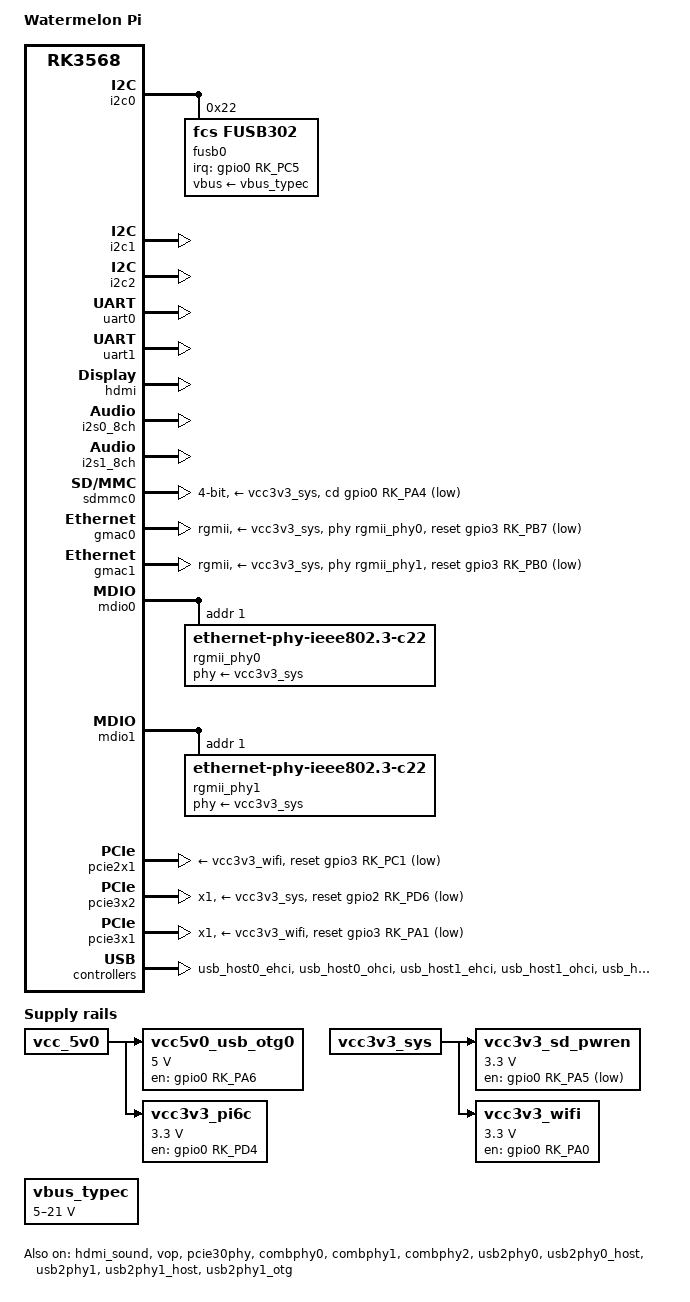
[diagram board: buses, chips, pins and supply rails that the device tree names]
// SPDX-License-Identifier: (GPL-2.0+ OR MIT)
// Copyright (c) 2023 Flippy <flippy@sina.com>

/dts-v1/;

#include "rk3568-watermelon-core.dtsi"

/ {
	model = "Watermelon Pi";
	compatible = "rockchip,watermelon-pi", "rockchip,rk3568";

	aliases {
		ethernet0 = &gmac0;
		ethernet1 = &gmac1;
	};

	vbus_typec: vbus_typec {
		compatible = "regulator-fixed";
		regulator-min-microvolt =  <5000000>;
		regulator-max-microvolt = <21000000>;
		regulator-name = "vbus_typec";
	};

	vcc5v0_usb_otg0: vcc5v0_usb_otg0 {
		compatible = "regulator-fixed";
		regulator-min-microvolt = <5000000>;
		regulator-max-microvolt = <5000000>;
		regulator-name = "vcc5v0_usb_otg0";

		enable-active-high;
		gpio = <&gpio0 RK_PA6 GPIO_ACTIVE_HIGH>;
		pinctrl-names = "default";
		pinctrl-0 = <&vcc5v0_usb_otg0_en>;
		vin-supply = <&vcc_5v0>;
	};

	vcc3v3_sd_pwren: vcc3v3-sd-pwren-regulator {
		compatible = "regulator-fixed";

		regulator-name = "vcc3v3_sd_pwren";
		regulator-min-microvolt = <3300000>;
		regulator-max-microvolt = <3300000>;
		regulator-boot-on;
		regulator-always-on;

		gpio = <&gpio0 RK_PA5 GPIO_ACTIVE_LOW>;
		vin-supply = <&vcc3v3_sys>;

		pinctrl-names = "default";
		pinctrl-0 = <&vcc3v3_sd_en>;
	};

	vcc3v3_pi6c: vcc3v3-pi6c {
		compatible = "regulator-fixed";
		regulator-name = "vcc3v3_pi6c";
		regulator-min-microvolt = <3300000>;
		regulator-max-microvolt = <3300000>;
		regulator-boot-on;
		regulator-always-on;

		enable-active-high;
		gpio = <&gpio0 RK_PD4 GPIO_ACTIVE_HIGH>;
		pinctrl-names = "default";
		pinctrl-0 = <&vcc3v3_pi6c_pwren>;
		vin-supply = <&vcc_5v0>;
	};

	vcc3v3_wifi: vcc3v3-wifi {
		compatible = "regulator-fixed";
		regulator-name = "vcc3v3_wifi";
		regulator-min-microvolt = <3300000>;
		regulator-max-microvolt = <3300000>;

		enable-active-high;
		gpio = <&gpio0 RK_PA0 GPIO_ACTIVE_HIGH>;
		pinctrl-names = "default";
		pinctrl-0 = <&vcc3v3_wifi_pwren>;
		vin-supply = <&vcc3v3_sys>;
	};
};

&i2c0 {
	fusb0: usb-typec@22 {
		compatible = "fcs,fusb302";
		reg = <0x22>;
		interrupt-parent = <&gpio0>;
		interrupts = <RK_PC5 IRQ_TYPE_LEVEL_LOW>;
		pinctrl-names = "default";
		pinctrl-0 = <&fusb0_int>;
		vbus-supply = <&vbus_typec>;
		status = "okay";
	};
};

&i2c1 {
	status = "okay";
};

&i2c2 {
	status = "okay";
};

&uart0 {
	status = "okay";
};

&uart1 {
	status = "okay";
};

&hdmi {
	status = "okay";
};

&hdmi_sound {
	status = "okay";
};

&vop {
	status = "okay";
};

&vop_mmu {
	status = "okay";
};

&i2s0_8ch {
	status = "okay";
};

&i2s1_8ch {
	status = "okay";
};

&sdmmc0 {
	bus-width = <4>;
	cap-sd-highspeed;
	cd-gpios = <&gpio0 RK_PA4 GPIO_ACTIVE_LOW>;
	disable-wp;
	pinctrl-names = "default";
	pinctrl-0 = <&sdmmc0_bus4 &sdmmc0_clk &sdmmc0_cmd &sdmmc0_det &sdmmc0_pwren>;
	sd-uhs-sdr104;
	vmmc-supply = <&vcc3v3_sys>;
	vqmmc-supply = <&vccio_sd>;
	status = "okay";
};

&gmac0 {
	assigned-clocks = <&cru SCLK_GMAC0_RX_TX>, <&cru SCLK_GMAC0>;
	assigned-clock-parents = <&cru SCLK_GMAC0_RGMII_SPEED>, <&cru CLK_MAC0_2TOP>;
	assigned-clock-rates = <0>, <125000000>;
	clock_in_out = "output";
	phy-supply = <&vcc3v3_sys>;
	phy-handle = <&rgmii_phy0>;
	phy-mode = "rgmii";
	pinctrl-names = "default";
	pinctrl-0 = <&gmac0_miim
		     &gmac0_tx_bus2
		     &gmac0_rx_bus2
		     &gmac0_rgmii_clk
		     &gmac0_clkinout
		     &gmac0_rgmii_bus>;
	snps,reset-gpio = <&gpio3 RK_PB7 GPIO_ACTIVE_LOW>;
	snps,reset-active-low;
	/* Reset time is 15ms, 50ms for rtl8211f */
	snps,reset-delays-us = <0 15000 50000>;
	tx_delay = <0x3c>;
	rx_delay = <0x2f>;
	status = "okay";
};

&gmac1 {
	assigned-clocks = <&cru SCLK_GMAC1_RX_TX>, <&cru SCLK_GMAC1>;
	assigned-clock-parents = <&cru SCLK_GMAC1_RGMII_SPEED>, <&cru CLK_MAC1_2TOP>;
	assigned-clock-rates = <0>, <125000000>;
	clock_in_out = "output";
	phy-supply = <&vcc3v3_sys>;
	phy-handle = <&rgmii_phy1>;
	phy-mode = "rgmii";
	pinctrl-names = "default";
	pinctrl-0 = <&gmac1m1_miim
		     &gmac1m1_tx_bus2
		     &gmac1m1_rx_bus2
		     &gmac1m1_rgmii_clk
		     &gmac1m1_clkinout
		     &gmac1m1_rgmii_bus>;
	snps,reset-gpio = <&gpio3 RK_PB0 GPIO_ACTIVE_LOW>;
	snps,reset-active-low;
	/* Reset time is 15ms, 50ms for rtl8211f */
	snps,reset-delays-us = <0 15000 50000>;
	tx_delay = <0x3c>;
	rx_delay = <0x2f>;
	status = "okay";
};

&mdio0 {
	rgmii_phy0: ethernet-phy@1 {
		compatible = "ethernet-phy-ieee802.3-c22";
		reg = <0x1>;
		phy-supply = <&vcc3v3_sys>;
	};
};

&mdio1 {
	rgmii_phy1: ethernet-phy@1 {
		compatible = "ethernet-phy-ieee802.3-c22";
		reg = <0x1>;
		phy-supply = <&vcc3v3_sys>;
	};
};

&pcie2x1 {
	reset-gpios = <&gpio3 RK_PC1 GPIO_ACTIVE_LOW>;
	vpcie3v3-supply = <&vcc3v3_wifi>;
	status = "okay";
};

&pcie30phy {
	data-lanes = <1 2>;
	status = "okay";
};

&pcie3x2 {
	num-lanes = <1>;
	reset-gpios = <&gpio2 RK_PD6 GPIO_ACTIVE_LOW>;
	vpcie3v3-supply = <&vcc3v3_sys>;
	status = "okay";
};

&pcie3x1 {
	num-lanes = <1>;
	reset-gpios = <&gpio3 RK_PA1 GPIO_ACTIVE_LOW>;
	vpcie3v3-supply = <&vcc3v3_wifi>;
	status = "okay";
};

&combphy0 {
	status = "okay";
};

&combphy1 {
	status = "okay";
};

&combphy2 {
	status = "okay";
};

&usb_host0_ehci {
	status = "okay";
};

&usb_host0_ohci {
	status = "okay";
};

&usb_host1_ehci {
	status = "okay";
};

&usb_host1_ohci {
	status = "okay";
};

&usb_host1_xhci {
	status = "okay";
};

&usb2phy0 {
	status = "okay";
};

&usb2phy0_host {
	//phy-supply = <&vcc5v0_usb_host>;
	status = "okay";
};

&usb2phy1 {
	status = "okay";
};

&usb2phy1_host {
	//phy-supply = <&vcc5v0_usb_host>;
	status = "okay";
};

&usb2phy1_otg {
	//phy-supply = <&vcc5v0_usb_host>;
	status = "okay";
};

&pinctrl {
	sd {
		vcc3v3_sd_en: vcc3v3-sd_en {
			rockchip,pins = <0 RK_PA5 RK_FUNC_GPIO &pcfg_pull_none>;
		};
	};

	fusb30x {
		fusb0_int: fusb0-int {
			rockchip,pins = <0 RK_PC5 RK_FUNC_GPIO &pcfg_pull_up>;
		};
	};

	usb {
		vcc5v0_usb_otg0_en: vcc5v0_usb_otg0_en {
			rockchip,pins = <0 RK_PA6 RK_FUNC_GPIO &pcfg_pull_none>;
		};
	};

	pcie {
		vcc3v3_pi6c_pwren: vcc3v3-pi6c-pwren {
			rockchip,pins = <0 RK_PD4 RK_FUNC_GPIO &pcfg_pull_up>;
		};

		vcc3v3_wifi_pwren: vcc3v3-wifi-pwren {
			rockchip,pins = <0 RK_PA0 RK_FUNC_GPIO &pcfg_pull_up>;
		};
	};
};
